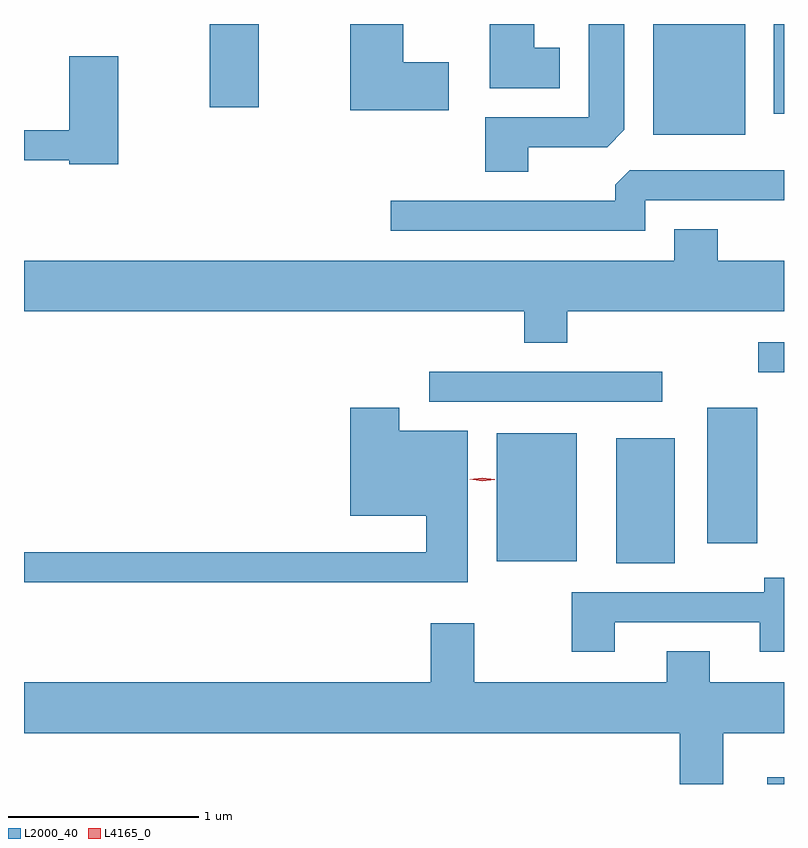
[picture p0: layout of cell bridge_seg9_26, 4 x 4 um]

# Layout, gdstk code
import gdstk
lib = gdstk.Library(unit=1e-6, precision=1e-09)
def R(c, l, rs):  # rectangles x0, y0, x1, y1
    for r in rs: c.add(gdstk.rectangle(r[:2], r[2:], *l))
def P(c, l, *ps):  # polygons
    for p in ps: c.add(gdstk.Polygon(p, *l))
L2000_40 = (2000, 40)
L4165_0 = (4165, 0)

bridge_seg9_26 = lib.new_cell('bridge_seg9_26')
R(bridge_seg9_26, L2000_40, [(1545.761,2024.849,1545.849,2024.884), (1544.966,2026.011,1545.274,2026.669), (1544.336,2026.021,1544.759,2026.694), (1545.446,2026.116,1545.709,2026.829), (1543.983,2026.861,1545.208,2027.019), (1545.713,2027.016,1545.849,2027.174), (1545.161,2028.266,1545.644,2028.849), (1545.796,2028.376,1545.849,2028.849), (1542.826,2028.411,1543.084,2028.849)])
P(bridge_seg9_26, L2000_40, [(1544.504,2028.201),(1544.919,2028.201),(1545.009,2028.292),(1545.009,2028.849),(1544.821,2028.849),(1544.821,2028.359),(1544.276,2028.359),(1544.276,2028.071),(1544.504,2028.071)],
  [(1544.669,2028.724),(1544.534,2028.724),(1544.534,2028.849),(1544.301,2028.849),(1544.301,2028.511),(1544.669,2028.511)],
  [(1544.084,2028.649),(1543.844,2028.649),(1543.844,2028.849),(1543.566,2028.849),(1543.566,2028.396),(1544.084,2028.396)],
  [(1542.344,2028.679),(1542.086,2028.679),(1542.086,2028.289),(1541.849,2028.289),(1541.849,2028.131),(1542.086,2028.131),(1542.086,2028.111),(1542.344,2028.111)],
  [(1545.119,2027.921),(1545.849,2027.921),(1545.849,2028.079),(1545.037,2028.079),(1544.961,2028.004),(1544.961,2027.919),(1543.778,2027.919),(1543.778,2027.761),(1545.119,2027.761)],
  [(1544.709,2027.336),(1545.849,2027.336),(1545.849,2027.604),(1545.499,2027.604),(1545.499,2027.769),(1545.271,2027.769),(1545.271,2027.604),(1541.849,2027.604),(1541.849,2027.336),(1544.481,2027.336),(1544.481,2027.171),(1544.709,2027.171)],
  [(1544.184,2026.709),(1543.824,2026.709),(1543.824,2026.829),(1543.566,2026.829),(1543.566,2026.261),(1543.966,2026.261),(1543.966,2026.069),(1541.849,2026.069),(1541.849,2025.911),(1544.184,2025.911)],
  [(1544.959,2025.701),(1545.721,2025.701),(1545.721,2025.546),(1545.849,2025.546),(1545.849,2025.934),(1545.746,2025.934),(1545.746,2025.859),(1544.731,2025.859),(1544.731,2025.546),(1544.959,2025.546)],
  [(1545.529,2025.116),(1545.849,2025.116),(1545.849,2025.384),(1545.459,2025.384),(1545.459,2025.549),(1545.231,2025.549),(1545.231,2025.384),(1544.219,2025.384),(1544.219,2025.694),(1543.991,2025.694),(1543.991,2025.384),(1541.849,2025.384),(1541.849,2025.116),(1545.301,2025.116),(1545.301,2024.849),(1545.529,2024.849)])
P(bridge_seg9_26, L4165_0, [(1544.26,2026.442),(1544.194,2026.452),(1544.193,2026.452),(1544.194,2026.452),(1544.26,2026.462),(1544.326,2026.452),(1544.326,2026.451),(1544.326,2026.451)])

lib.write_gds('bridge_seg9_26.gds')
